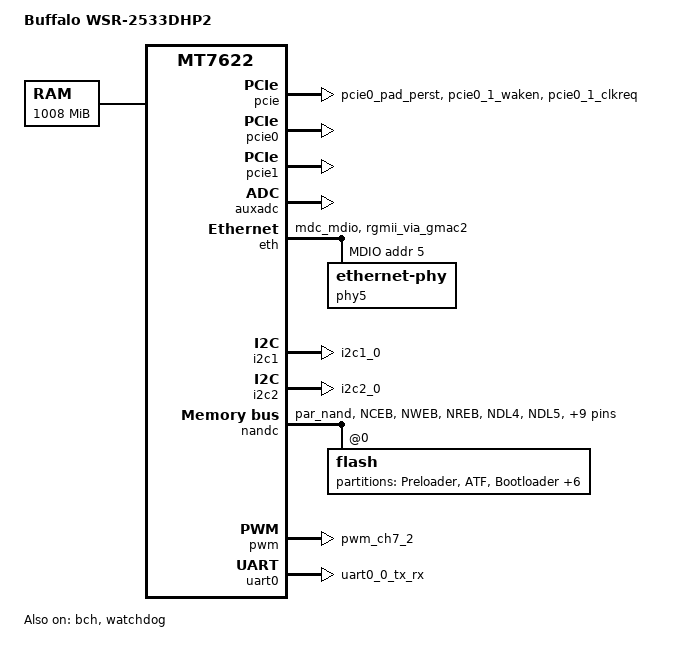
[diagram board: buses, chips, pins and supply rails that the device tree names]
// SPDX-License-Identifier: (GPL-2.0 OR MIT)
/dts-v1/;
#include <dt-bindings/input/input.h>
#include <dt-bindings/gpio/gpio.h>

#include "mt7622.dtsi"
#include "mt6380.dtsi"

/ {
	model = "Buffalo WSR-2533DHP2";
	compatible = "buffalo,wsr-2533dhp2", "mediatek,mt7622";

	chosen {
		bootargs = "console=ttyS0,115200n1";
	};

	cpus {
		cpu@0 {
			proc-supply = <&mt6380_vcpu_reg>;
			sram-supply = <&mt6380_vm_reg>;
		};

		cpu@1 {
			proc-supply = <&mt6380_vcpu_reg>;
			sram-supply = <&mt6380_vm_reg>;
		};
	};

/*	gpio-keys {
		compatible = "gpio-keys-polled";
		poll-interval = <100>;

		factory {
			label = "factory";
			linux,code = <BTN_0>;
			gpios = <&pio 0 0>;
		};

		wps {
			label = "wps";
			linux,code = <KEY_WPS_BUTTON>;
			gpios = <&pio 102 0>;
		};
	};*/

	memory {
		reg = <0 0x40000000 0 0x3F000000>;
	};
};

&pcie {
	pinctrl-names = "default";
	pinctrl-0 = <&pcie0_pins>;
	status = "okay";
};

&pcie0 {
	status = "okay";
};

&pcie1 {
	status = "okay";
};

&pio {
	eth_pins: eth-pins {
		mux {
			function = "eth";
			groups = "mdc_mdio", "rgmii_via_gmac2";
		};
	};

	i2c1_pins: i2c1-pins {
		mux {
			function = "i2c";
			groups =  "i2c1_0";
		};
	};

	i2c2_pins: i2c2-pins {
		mux {
			function = "i2c";
			groups =  "i2c2_0";
		};
	};

	i2s1_pins: i2s1-pins {
		mux {
			function = "i2s";
			groups =  "i2s_out_bclk_ws_mclk",
				  "i2s1_in_data",
				  "i2s1_out_data";
		};
	};

	/* Parallel nand is shared pin with eMMC */
	parallel_nand_pins: parallel-nand-pins {
		mux {
			function = "flash";
			groups = "par_nand";
		};

		conf-pins-dat {
			pins = "NCEB", "NWEB", "NREB",
				  "NDL4", "NDL5", "NDL6",
				  "NDL7", "NRB", "NCLE",
				  "NALE", "NDL0", "NDL1",
				  "NDL2", "NDL3";
			input-enable;
			drive-strength = <8>;
			bias-pull-up;
		};
	};

	pcie0_pins: pcie0-pins {
		mux {
			function = "pcie";
			groups = "pcie0_pad_perst",
				 "pcie0_1_waken",
				 "pcie0_1_clkreq";
		};
	};

	pcie1_pins: pcie1-pins {
		mux {
			function = "pcie";
			groups = "pcie1_pad_perst",
				 "pcie1_0_waken",
				 "pcie1_0_clkreq";
		};
	};

	pmic_bus_pins: pmic-bus-pins {
		mux {
			function = "pmic";
			groups = "pmic_bus";
		};
	};

	pwm7_pins: pwm1-2-pins {
		mux {
			function = "pwm";
			groups = "pwm_ch7_2";
		};
	};

	wled_pins: wled-pins {
		mux {
			function = "led";
			groups = "wled";
		};
	};

	uart0_pins: uart0-pins {
		mux {
			function = "uart";
			groups = "uart0_0_tx_rx" ;
		};
	};

	watchdog_pins: watchdog-pins {
		mux {
			function = "watchdog";
			groups = "watchdog";
		};
	};
};

&auxadc {
	status = "okay";
};

&bch {
	status = "okay";
};

&eth {
	pinctrl-names = "default";
	pinctrl-0 = <&eth_pins>;
	status = "okay";

	mtd-mac-address = <&board_data 0x4>;
	mtd-mac-address-increment = <(-1)>;

	gmac1: mac@1 {
		compatible = "mediatek,eth-mac";
		reg = <1>;
		phy-handle = <&phy5>;
	};

	mdio-bus {
		#address-cells = <1>;
		#size-cells = <0>;

		phy5: ethernet-phy@5 {
			reg = <5>;
			phy-mode = "sgmii";
		};
	};
};

&i2c1 {
	pinctrl-names = "default";
	pinctrl-0 = <&i2c1_pins>;
	status = "okay";
};

&i2c2 {
	pinctrl-names = "default";
	pinctrl-0 = <&i2c2_pins>;
	status = "okay";
};

&nandc {
	pinctrl-names = "default";
	pinctrl-0 = <&parallel_nand_pins>;
	status = "okay";

	flash@0 {
		reg = <0>;
		nand-ecc-mode = "hw";

		partitions {
			compatible = "fixed-partitions";
			#address-cells = <1>;
			#size-cells = <1>;

			partition@0 {
				label = "Preloader";
				reg = <0x0 0x80000>;
				read-only;
			};

			partition@80000 {
				label = "ATF";
				reg = <0x80000 0x40000>;
				read-only;
			};

			partition@c0000 {
				label = "Bootloader";
				reg = <0xc0000 0x80000>;
				read-only;
			};

			partition@140000 {
				label = "Config";
				reg = <0x140000 0x80000>;
				read-only;
			};

			partition@1c0000 {
				label = "Factory";
				reg = <0x1c0000 0x40000>;
				read-only;
			};

			partition@200000 {
				label = "Kernel";
				reg = <0x200000 0x3a00000>;
			};

			partition@3C00000 {
				label = "Kernel2";
				reg = <0x3c00000 0x3a00000>;
			};

			partition@7600000 {
				label = "glbcfg";
				reg = <0x7600000 0x200000>;
				read-only;
			};

			board_data: partition@7800000 {
				label = "board_data";
				reg = <0x7800000 0x200000>;
				read-only;
			};
		};
	};
};

&pwm {
	pinctrl-names = "default";
	pinctrl-0 = <&pwm7_pins>;
	status = "okay";
};

&pwrap {
	pinctrl-names = "default";
	pinctrl-0 = <&pmic_bus_pins>;

	status = "okay";
};

&uart0 {
	pinctrl-names = "default";
	pinctrl-0 = <&uart0_pins>;
	status = "okay";
};

&watchdog {
	pinctrl-names = "default";
	pinctrl-0 = <&watchdog_pins>;
	status = "okay";
};
